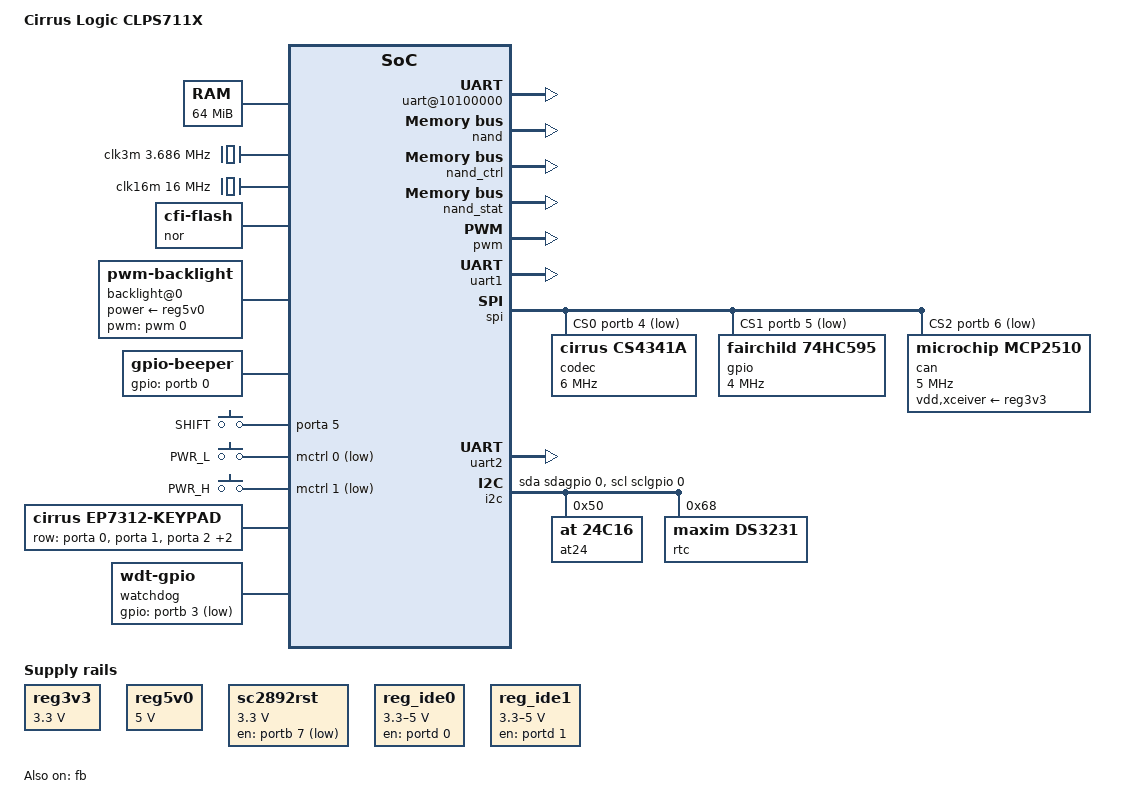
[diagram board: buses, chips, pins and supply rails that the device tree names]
/*
 * The code contained herein is licensed under the GNU General Public
 * License. You may obtain a copy of the GNU General Public License
 * Version 2 or later at the following locations:
 */

/dts-v1/;
#include "skeleton.dtsi"

#include <dt-bindings/clock/clps711x-clock.h>
#include <dt-bindings/gpio/gpio.h>
#include <dt-bindings/input/input.h>
#include <dt-bindings/input/linux-event-codes.h>

/ {
	model = "Cirrus Logic CLPS711X";
	compatible = "cirrus,ep7209";

	memory {
		reg = <0xc0000000 0x04000000>;
	};

	aliases {
		gpio0 = &porta;
		gpio1 = &portb;
		gpio2 = &portc;
		gpio3 = &portd;
		gpio4 = &porte;
		serial0 = &uart1;
		serial1 = &uart2;
		spi0 = &spi;
		timer0 = &timer1;
		timer1 = &timer2;
	};

	cpus {
		#address-cells = <0>;
		#size-cells = <0>;

		cpu {
			device_type = "cpu";
			compatible = "arm,arm720t";
		};
	};

	clocks {
		clk3m: clk3m {
			compatible = "fixed-clock";
			clock-frequency = <3686400>;
			#clock-cells = <0>;
		};

		clk16m: clk16m {
			compatible = "fixed-clock";
			clock-frequency = <16000000>;
			#clock-cells = <0>;
		};
	};

	display: display {
		model = "320x240x4";
		native-mode = <&timing0>;
		bits-per-pixel = <4>;
		ac-prescale = <17>;

		display-timings {
			timing0: 320x240 {
				hactive = <320>;
				hback-porch = <0>;
				hfront-porch = <0>;
				hsync-len = <0>;
				vactive = <240>;
				vback-porch = <0>;
				vfront-porch = <0>;
				vsync-len = <0>;
				clock-frequency = <6500000>;
			};
		};
	};

	sound {
		compatible = "simple-audio-card";
		simple-audio-card,name = "DAICS4351";
		simple-audio-card,format = "left_j";
		simple-audio-card,bitclock-master = <&audio_master>;
		simple-audio-card,frame-master = <&audio_master>;

		audio_master: simple-audio-card,cpu {
			sound-dai = <&dai>;
			clocks = <&clks CLPS711X_CLK_DUMMY>;
		};

		simple-audio-card,codec {
			sound-dai = <&codec>;
		};
	};

	soc {
		#address-cells = <1>;
		#size-cells = <1>;
		compatible = "simple-bus";
		interrupt-parent = <&intc>;
		ranges;

		clks: clks@80000000 {
			#clock-cells = <1>;
			compatible = "cirrus,ep7312-clk", "cirrus,ep7209-clk";
			reg = <0x80000000 0xc000>;
			startup-frequency = <73728000>;
		};

		intc: intc@80000000 {
			compatible = "cirrus,ep7312-intc", "cirrus,ep7209-intc";
			reg = <0x80000000 0x4000>;
			interrupt-controller;
			#interrupt-cells = <1>;
		};

		porta: gpio@80000000 {
			compatible = "cirrus,ep7312-gpio", "cirrus,ep7209-gpio";
			reg = <0x80000000 0x1 0x80000040 0x1>;
			gpio-controller;
			#gpio-cells = <2>;
		};

		portb: gpio@80000001 {
			compatible = "cirrus,ep7312-gpio", "cirrus,ep7209-gpio";
			reg = <0x80000001 0x1 0x80000041 0x1>;
			gpio-controller;
			#gpio-cells = <2>;
		};

		portc: gpio@80000002 {
			compatible = "cirrus,ep7312-gpio", "cirrus,ep7209-gpio";
			reg = <0x80000002 0x1 0x80000042 0x1>;
			gpio-controller;
			#gpio-cells = <2>;
			status = "disabled";
		};

		portd: gpio@80000003 {
			compatible = "cirrus,ep7312-gpio", "cirrus,ep7209-gpio";
			reg = <0x80000003 0x1 0x80000043 0x1>;
			gpio-controller;
			#gpio-cells = <2>;
		};

		porte: gpio@80000083 {
			compatible = "cirrus,ep7312-gpio", "cirrus,ep7209-gpio";
			reg = <0x80000083 0x1 0x800000c3 0x1>;
			gpio-controller;
			#gpio-cells = <2>;
		};

		syscon1: syscon@80000100 {
			compatible = "cirrus,ep7312-syscon1", "cirrus,ep7209-syscon1", "syscon";
			reg = <0x80000100 0x80>;
		};

		bus: bus@80000180 {
			#address-cells = <2>;
			#size-cells = <1>;
			compatible = "cirrus,ep7312-bus", "cirrus,ep7209-bus", "simple-bus";
			clocks = <&clks CLPS711X_CLK_BUS>;
			reg = <0x80000180 0x80>;
			ranges = <
				0 0 0x00000000 0x10000000
				1 0 0x10000000 0x10000000
				2 0 0x20000000 0x10000000
				3 0 0x30000000 0x10000000
				4 0 0x40000000 0x10000000
				5 0 0x50000000 0x10000000
				6 0 0x60000000 0x0000c000
				7 0 0x70000000 0x00000080
			>;
		};

		fb: fb@800002c0 {
			compatible = "cirrus,ep7312-fb", "cirrus,ep7209-fb";
			reg = <0x800002c0 0xd44>, <0x60000000 0xc000>;
			clocks = <&clks CLPS711X_CLK_BUS>;
			status = "disabled";
		};

		timer1: timer@80000300 {
			compatible = "cirrus,ep7312-timer", "cirrus,ep7209-timer";
			reg = <0x80000300 0x4>;
			clocks = <&clks CLPS711X_CLK_TIMER1>;
			interrupts = <8>;
		};

		timer2: timer@80000340 {
			compatible = "cirrus,ep7312-timer", "cirrus,ep7209-timer";
			reg = <0x80000340 0x4>;
			clocks = <&clks CLPS711X_CLK_TIMER2>;
			interrupts = <9>;
		};

		pwm: pwm@80000400 {
			compatible = "cirrus,ep7312-pwm", "cirrus,ep7209-pwm";
			reg = <0x80000400 0x4>;
			clocks = <&clks CLPS711X_CLK_PWM>;
			#pwm-cells = <1>;
		};

		uart1: uart@80000480 {
			compatible = "cirrus,ep7312-uart", "cirrus,ep7209-uart";
			reg = <0x80000480 0x80>;
			interrupts = <12 13>;
			clocks = <&clks CLPS711X_CLK_UART>;
			syscon = <&syscon1>;
		};

		spi: spi@80000500 {
			#address-cells = <1>;
			#size-cells = <0>;
			compatible = "cirrus,ep7312-spi", "cirrus,ep7209-spi";
			reg = <0x80000500 0x4>;
			interrupts = <15>;
			clocks = <&clks CLPS711X_CLK_SPI>;
			status = "disabled";
		};

		syscon2: syscon@80001100 {
			compatible = "cirrus,ep7312-syscon2", "cirrus,ep7209-syscon2", "syscon";
			reg = <0x80001100 0x80>;
		};

		uart2: uart@80001480 {
			compatible = "cirrus,ep7312-uart", "cirrus,ep7209-uart";
			reg = <0x80001480 0x80>;
			interrupts = <28 29>;
			clocks = <&clks CLPS711X_CLK_UART>;
			syscon = <&syscon2>;
		};

		dai: dai@80002000 {
			#sound-dai-cells = <0>;
			compatible = "cirrus,ep7312-dai", "cirrus,ep7209-dai";
			reg = <0x80002000 0x604>;
			clocks = <&clks CLPS711X_CLK_PLL>;
			clock-names = "pll";
			interrupts = <32>;
		};

		syscon3: syscon@80002200 {
			compatible = "cirrus,ep7312-syscon3", "cirrus,ep7209-syscon3", "syscon";
			reg = <0x80002200 0x40>;
		};
	};

	backlight {
		#address-cells = <1>;
		#size-cells = <0>;
		compatible = "simple-bus";

		backlight@0 {
			compatible = "pwm-backlight";
			reg = <0>;
			pwms = <&pwm 0>;
			brightness-levels = <
				0x0 0x1 0x2 0x3 0x4 0x5 0x6 0x7
				0x8 0x9 0xa 0xb 0xc 0xd 0xe 0xf
			>;
			default-brightness-level = <0x0>;
			power-supply = <&reg5v0>;
		};
	};

	i2c: i2c0 {
		compatible = "i2c-gpio";
		gpios = <&sdagpio 0 GPIO_ACTIVE_HIGH>,
			<&sclgpio 0 GPIO_ACTIVE_HIGH>;
		i2c-gpio,sda-open-drain;
		i2c-gpio,scl-open-drain;
		#address-cells = <1>;
		#size-cells = <0>;
	};

	inputs {
		#address-cells = <1>;
		#size-cells = <0>;
		compatible = "simple-bus";

		beeper: input@0 {
			compatible = "gpio-beeper";
			reg = <0>;
			gpios = <&portb 0 GPIO_ACTIVE_HIGH>;
		};

		switches: input@1 {
			compatible = "gpio-keys-polled";
			reg = <1>;
			poll-interval = <37>;

			button@0 {
				label = "SHIFT";
				linux,code = <SW_LID>;
				linux,input-type = <EV_SW>;
				gpios = <&porta 5 GPIO_ACTIVE_HIGH>;
			};

			button@1 {
				label = "PWR_L";
				linux,code = <SW_TABLET_MODE>;
				linux,input-type = <EV_SW>;
				gpios = <&mctrl 0 GPIO_ACTIVE_LOW>;
				debounce-interval = <0>;
			};

			button@2 {
				label = "PWR_H";
				linux,code = <SW_HEADPHONE_INSERT>;
				linux,input-type = <EV_SW>;
				gpios = <&mctrl 1 GPIO_ACTIVE_LOW>;
				debounce-interval = <0>;
			};
		};

		keypad: input@2 {
			compatible = "cirrus,ep7312-keypad", "cirrus,ep7209-keypad";
			reg = <2>;
			autorepeat;
			poll-interval = <67>;
			row-gpios = <&porta 0 GPIO_ACTIVE_HIGH>,
				    <&porta 1 GPIO_ACTIVE_HIGH>,
				    <&porta 2 GPIO_ACTIVE_HIGH>,
				    <&porta 3 GPIO_ACTIVE_HIGH>,
				    <&porta 4 GPIO_ACTIVE_HIGH>;
			linux,keymap = <
				MATRIX_KEY(0,4,0x35)
				MATRIX_KEY(0,5,0x3a)
				MATRIX_KEY(0,6,0x3f)
				MATRIX_KEY(0,7,0x44)
				MATRIX_KEY(1,0,0x22)
				MATRIX_KEY(1,1,0x27)
				MATRIX_KEY(1,2,0x2c)
				MATRIX_KEY(1,3,0x31)
				MATRIX_KEY(2,0,0x23)
				MATRIX_KEY(2,1,0x28)
				MATRIX_KEY(2,2,0x2d)
				MATRIX_KEY(2,3,0x32)
				MATRIX_KEY(3,0,0x24)
				MATRIX_KEY(3,1,0x29)
				MATRIX_KEY(3,2,0x2e)
				MATRIX_KEY(3,3,0x33)
				MATRIX_KEY(4,0,0x25)
				MATRIX_KEY(4,1,0x2a)
				MATRIX_KEY(4,2,0x2f)
				MATRIX_KEY(4,3,0x34)
			>;
		};
	};

	mctrl: mctrl {
		compatible = "cirrus,ep7312-mctrl-gpio", "cirrus,ep7209-mctrl-gpio";
		gpio-controller;
		#gpio-cells = <2>;
	};

	reg3v3: reg3v3 {
		compatible = "regulator-fixed";
		regulator-name = "3V3";
		regulator-min-microvolt = <3300000>;
		regulator-max-microvolt = <3300000>;
	};

	reg5v0: reg5v0 {
		compatible = "regulator-fixed";
		regulator-name = "5V0";
		regulator-min-microvolt = <5000000>;
		regulator-max-microvolt = <5000000>;
	};

	sc2892rst: reg_sc2892rst {
		compatible = "regulator-fixed";
		regulator-name = "RST";
		regulator-min-microvolt = <3300000>;
		regulator-max-microvolt = <3300000>;
		gpio = <&portb 7 GPIO_ACTIVE_LOW>;
		startup-delay-us = <1>;
	};

	reg_ide0: reg_ide0 {
		compatible = "regulator-gpio";
		regulator-type = "voltage";
		regulator-name = "IDE0";
		regulator-min-microvolt = <3300000>;
		regulator-max-microvolt = <5000000>;
		enable-gpio = <&portd 0 GPIO_ACTIVE_HIGH>;
		enable-active-high;
		gpios = <&portd 3 GPIO_ACTIVE_HIGH>,
			<&portd 2 GPIO_ACTIVE_HIGH>;
		states = <
			3300000 0x1
			5000000 0x2
		>;
		gpios-states = <0 1>;
		regulator-always-on;
		enable-at-boot;
	};

	reg_ide1: reg_ide1 {
		compatible = "regulator-gpio";
		regulator-type = "voltage";
		regulator-name = "IDE1";
		regulator-min-microvolt = <3300000>;
		regulator-max-microvolt = <5000000>;
		enable-gpio = <&portd 1 GPIO_ACTIVE_HIGH>;
		enable-active-high;
		gpios = <&portd 5 GPIO_ACTIVE_HIGH>,
			<&portd 4 GPIO_ACTIVE_HIGH>;
		states = <
			3300000 0x1
			5000000 0x2
		>;
		gpios-states = <0 1>;
		regulator-always-on;
		enable-at-boot;
	};

	watchdog: watchdog {
		compatible = "linux,wdt-gpio";
		gpios = <&portb 3 GPIO_ACTIVE_LOW>;
		hw_algo = "toggle";
		hw_margin_ms = <1500>;
		always-running;
	};
};

&bus {
	nor: nor@00000000 {
		compatible = "cfi-flash";
		reg = <0 0x00000000 0x02000000>;
		bank-width = <2>;
		linux,mtd-name = "physmap-flash.0";
		#address-cells = <1>;
		#size-cells = <1>;
	};

	rtc@10000000 {
		compatible = "maxim,ds1742";
		reg = <1 0x00000000 0x800>;
	};

	sdagpio: sdagpio@10000804 {
		compatible = "wd,mbl-gpio";
		reg = <1 0x00000804 0x1>;
		reg-names = "dat";
		gpio-controller;
		#gpio-cells = <2>;
	};

	sclgpio: sclgpio@10000805 {
		compatible = "wd,mbl-gpio";
		reg = <1 0x00000805 0x1>;
		reg-names = "dat";
		gpio-controller;
		#gpio-cells = <2>;
	};

	uart@10100000 {
		compatible = "nxp,sc2892";
		reg = <1 0x00100000 0x10>;
		clocks = <&clk3m>;
		poll-interval = <2000>;
		nxp,sccnxp-io-cfg = <0x01000000 0x02000000>;
		vcc-supply = <&sc2892rst>;
	};

	bgpio@10200000 {
		compatible = "ti,74244";
		reg = <1 0x00200000 0x1>;
		gpio-controller;
		#gpio-cells = <2>;
	};

	ide@20000000 {
		compatible = "ata-generic";
		reg = <
			2 0x00000000 0x20
			2 0x00080018 0x04
		>;
		interrupts = <5>;
		reg-shift = <2>;
		pio-mode = <2>;
		vcc-supply = <&reg_ide0>;
	};

	ide@20100000 {
		compatible = "ata-generic";
		reg = <
			2 0x00100000 0x20
			2 0x00180018 0x04
		>;
		interrupts = <6>;
		reg-shift = <2>;
		pio-mode = <2>;
		vcc-supply = <&reg_ide1>;
	};

	nand: nand@30000000 {
		compatible = "gpio-control-nand";
		reg = <3 0x00000000 0x2>;
		chip-delay = <25>;
		gpio-control-nand,bank-width-auto;
		ale-gpios = <&nand_ctrl 1 GPIO_ACTIVE_HIGH>;
		cle-gpios = <&nand_ctrl 0 GPIO_ACTIVE_HIGH>;
		nwp-gpios = <&nand_ctrl 2 GPIO_ACTIVE_LOW>;
		nce-gpios = <&nand_ctrl 4 GPIO_ACTIVE_LOW>,
			    <&nand_ctrl 5 GPIO_ACTIVE_LOW>;
		rdy-gpios = <&nand_stat 1 GPIO_ACTIVE_LOW>,
			    <&nand_stat 2 GPIO_ACTIVE_LOW>;
		#address-cells = <1>;
		#size-cells = <1>;

		partition@0 {
			label = "nand-gpio";
			reg = <0 0>;
		};
	};

	nand_ctrl: bgpio@30008004 {
		compatible = "ti,74174";
		reg = <3 0x00008004 0x1>;
		gpio-controller;
		#gpio-cells = <2>;
	};

	nand_stat: bgpio@30008014 {
		compatible = "ti,74365";
		reg = <3 0x00008014 0x1>;
		gpio-controller;
		#gpio-cells = <2>;
	};
};

&fb {
	display = <&display>;
	status = "okay";
};

&i2c {
	at24@50 {
		compatible = "at,24c16";
		reg = <0x50>;
		pagesize = <256>;
	};

	rtc@68 {
		compatible = "maxim,ds3231";
		reg = <0x68>;
		#clock-cells = <1>;
	};
};

&spi {
	cs-gpios = <&portb 4 GPIO_ACTIVE_LOW>,
		   <&portb 5 GPIO_ACTIVE_LOW>,
		   <&portb 6 GPIO_ACTIVE_LOW>;
	status = "okay";

	codec: codec@0 {
		#sound-dai-cells = <0>;
		compatible = "cirrus,cs4341a";
		reg = <0>;
		spi-max-frequency = <6000000>;
	};

	gpio@1 {
		compatible = "fairchild,74hc595";
		reg = <1>;
		spi-max-frequency = <4000000>;
		registers-number = <1>;
		gpio-controller;
		#gpio-cells = <2>;
	};

	can@2 {
		compatible = "microchip,mcp2510";
		reg = <2>;
		spi-max-frequency = <5000000>;
		clocks = <&clk16m>;
		interrupts = <7>;
		vdd-supply = <&reg3v3>;
		xceiver-supply = <&reg3v3>;
	};
};
